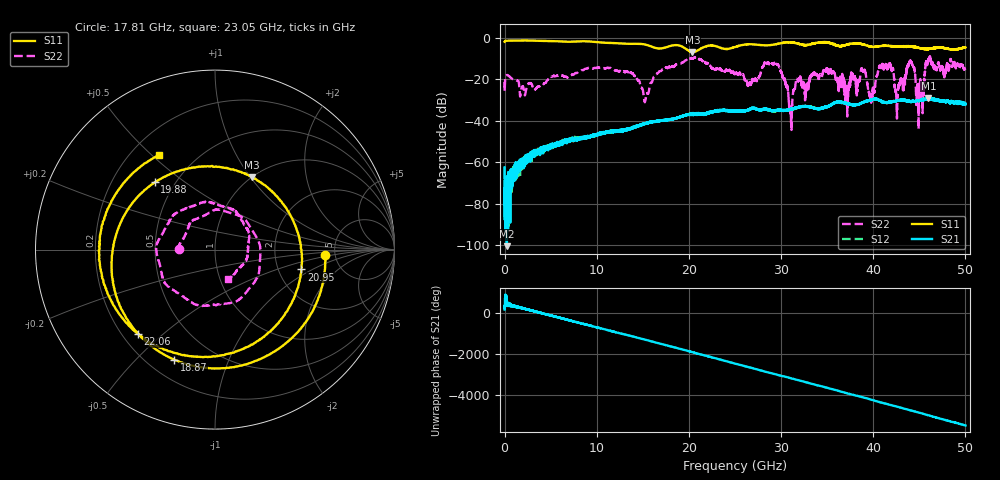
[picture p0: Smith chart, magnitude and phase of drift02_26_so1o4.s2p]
!Created with skrf (http://scikit-rf.org).
# Hz S RI R 50.0
!freq ReS11 ImS11 ReS21 ImS21 ReS12 ImS12 ReS22 ImS22
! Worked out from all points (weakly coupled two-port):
!   10001 points, 300 kHz to 50 GHz, reference 50 ohm
!   highest |S21| = -29.05 dB at 45.98 GHz (marker M1); lowest = -100.4 dB at 245.3 MHz (marker M2)
!   lowest |S11| = -6.9 dB at 20.37 GHz (marker M3), VSWR 2.64, Z = 50 + j50.6 ohm
!   |S11| at or under -10 dB: nowhere
!   |S22| runs from -44.4 to -9.0 dB; largest |S21 - S12| = 0.0031
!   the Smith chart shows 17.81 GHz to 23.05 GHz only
!   S11 on the Smith chart (normalised r, x): 17.81 GHz: 4.14, -0.39; 18.87 GHz: 0.30, -0.65; 19.88 GHz: 0.39, +0.39; 20.95 GHz: 2.68, -0.79; 22.06 GHz: 0.26, -0.41; 23.05 GHz: 0.31, +0.52
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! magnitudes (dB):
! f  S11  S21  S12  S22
! 300 kHz  -2.0  -62.4  -62.8  -21.3
! 245.3 MHz  -1.4  -100.4  -72.1  -18.0
! 8.335 GHz  -1.7  -48.2  -48.7  -15.7
! 15.32 GHz  -3.4  -41.4  -41.3  -29.2
! 16.67 GHz  -5.2  -40.0  -40.0  -16.9
! 17.81 GHz  -4.2  -39.4  -39.6  -14.0
! 18.87 GHz  -3.7  -38.3  -38.4  -12.7
! 19.88 GHz  -6.0  -37.0  -37.2  -10.2
! 20.37 GHz  -6.9  -36.7  -36.8  -9.9
! 20.95 GHz  -6.1  -37.2  -36.8  -9.7
! 22.06 GHz  -3.9  -36.5  -36.1  -12.6
! 23.05 GHz  -4.3  -35.2  -35.4  -15.0
! 25 GHz  -4.5  -35.3  -35.5  -17.5
! 29.5 GHz  -3.0  -35.2  -35.2  -12.6
! 31.03 GHz  -2.3  -34.5  -34.6  -34.7
! 33.34 GHz  -3.0  -33.6  -33.6  -18.0
! 38.91 GHz  -3.2  -31.2  -31.1  -16.1
! 39.73 GHz  -4.4  -30.1  -30.0  -30.7
! 41.67 GHz  -4.0  -31.1  -31.1  -13.6
! 45.14 GHz  -5.1  -30.0  -30.0  -21.5
! 45.98 GHz  -5.4  -29.1  -29.6  -10.8
! 50 GHz  -4.7  -32.1  -31.9  -15.4
